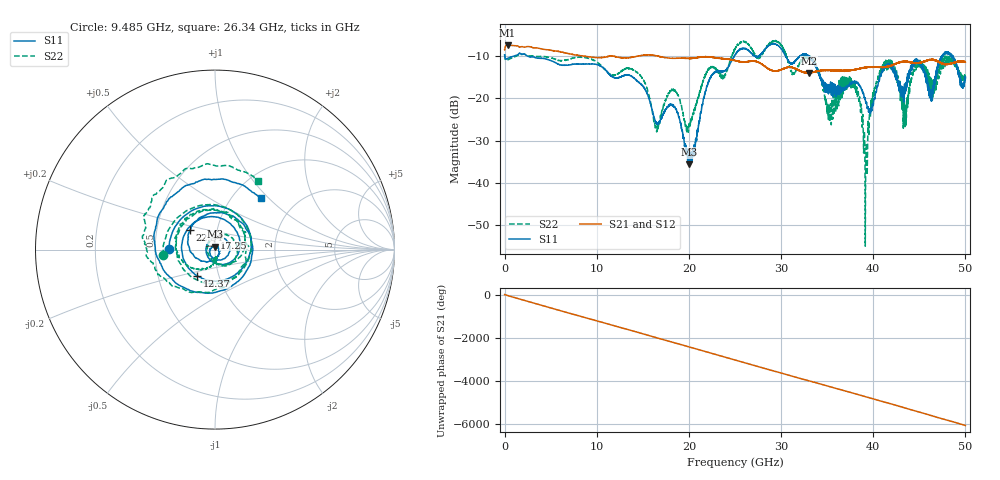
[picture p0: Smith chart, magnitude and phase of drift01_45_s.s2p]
!Created with skrf (http://scikit-rf.org).
# Hz S RI R 50.0
!freq ReS11 ImS11 ReS21 ImS21 ReS12 ImS12 ReS22 ImS22
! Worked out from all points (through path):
!   10001 points, 300 kHz to 50 GHz, reference 50 ohm
!   highest |S21| = -7.33 dB at 325.3 MHz (marker M1); lowest = -14.0 dB at 33.02 GHz (marker M2)
!   group delay of S21, straight-line fit = 335 ps
!   lowest |S11| = -35.6 dB at 20.01 GHz (marker M3), VSWR 1.03, Z = 49.8 + j1.65 ohm
!   |S11| at or under -10 dB: 2.553 GHz to 24.92 GHz (22.36 GHz wide, 163 % of centre); 30.5 GHz to 32.01 GHz (1.51 GHz wide, 4.83 % of centre); 33.04 GHz to 47.42 GHz (14.38 GHz wide, 35.8 % of centre) (the widest 3 of 24)
!   |S22| runs from -55.1 to -6.2 dB; largest |S21 - S12| = 0.0095
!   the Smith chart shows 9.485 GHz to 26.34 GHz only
!   S11 on the Smith chart (normalised r, x): 9.485 GHz: 0.59, +0.00; 12.37 GHz: 0.79, -0.24; 17.25 GHz: 0.98, +0.13; 22.34 GHz: 0.74, +0.17; 26.34 GHz: 1.34, +0.90
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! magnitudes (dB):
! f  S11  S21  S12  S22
! 300 kHz  -9.6  -8.4  -8.5  -9.5
! 325.3 MHz  -10.5  -7.3  -7.3  -10.9
! 8.335 GHz  -11.8  -9.9  -9.9  -10.2
! 9.485 GHz  -11.8  -10.2  -10.2  -10.8
! 12.37 GHz  -15.0  -10.2  -10.2  -13.9
! 16.67 GHz  -26.1  -10.0  -10.0  -27.2
! 17.25 GHz  -23.5  -10.2  -10.2  -21.6
! 20.01 GHz  -35.6  -10.5  -10.5  -26.6
! 22.34 GHz  -15.1  -10.2  -10.2  -12.7
! 25 GHz  -9.6  -11.0  -11.1  -8.4
! 26.34 GHz  -8.3  -11.2  -11.3  -7.0
! 33.02 GHz  -10.0  -14.0  -13.8  -10.1
! 33.34 GHz  -10.8  -13.8  -13.8  -10.5
! 35.23 GHz  -16.8  -13.3  -13.3  -22.2
! 37.99 GHz  -16.0  -13.2  -13.2  -17.2
! 39.17 GHz  -20.7  -12.6  -12.6  -41.4
! 40.16 GHz  -20.1  -12.5  -12.5  -17.5
! 41.67 GHz  -12.2  -12.3  -12.4  -11.5
! 43.38 GHz  -17.4  -11.3  -11.2  -20.5
! 44.88 GHz  -10.9  -11.6  -11.6  -11.4
! 46.25 GHz  -19.5  -10.8  -10.8  -16.3
! 50 GHz  -15.2  -11.4  -11.4  -15.1
